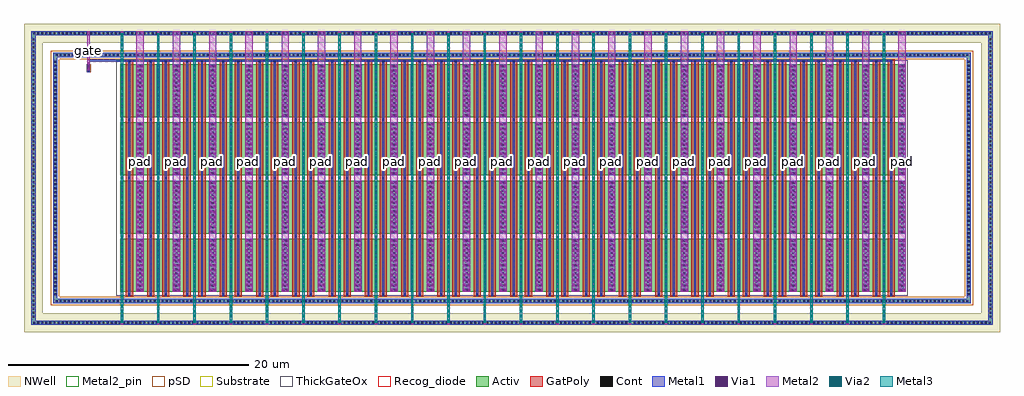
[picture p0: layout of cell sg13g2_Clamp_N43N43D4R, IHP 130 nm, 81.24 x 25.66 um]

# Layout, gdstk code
import gdstk
lib = gdstk.Library(unit=1e-6, precision=1e-09)
def R(c, l, rs):  # rectangles x0, y0, x1, y1
    for r in rs: c.add(gdstk.rectangle(r[:2], r[2:], *l))
def A(c, l, x, y, w, h, nx, ny, dx, dy):  # array of equal rectangles
    R(c, l, [(x+i*dx, y+j*dy, x+i*dx+w, y+j*dy+h) for i in range(nx) for j in range(ny)])
def P(c, l, *ps):  # polygons
    for p in ps: c.add(gdstk.Polygon(p, *l))
Activ = (1, 0)
GatPoly = (5, 0)
Cont = (6, 0)
Metal1 = (8, 0)
Metal2 = (10, 0)
Metal2_pin = (10, 2)
pSD = (14, 0)
Via1 = (19, 0)
Via2 = (29, 0)
Metal3 = (30, 0)
NWell = (31, 0)
Substrate = (40, 0)
ThickGateOx = (44, 0)
Recog_diode = (99, 31)

sg13g2_guardring_n16000w = lib.new_cell('sg13g2_GuardRing_N16000W4884HFF')
P(sg13g2_guardring_n16000w, Activ, [(-40,-12.21),(-40,11.87),(-39.66,11.87),(-39.66,-11.87),(39.66,-11.87),(39.66,11.87),(-40,11.87),(-40,12.21),(40,12.21),(40,-12.21)])
A(sg13g2_guardring_n16000w, Cont, -39.86, -12.12, 0.16, 0.16, 235, 2, 0.34, 24.08)
A(sg13g2_guardring_n16000w, Cont, -39.91, -11.64, 0.16, 0.16, 1, 69, 0, 0.34)
A(sg13g2_guardring_n16000w, Cont, 39.75, -11.64, 0.16, 0.16, 1, 69, 0, 0.34)
P(sg13g2_guardring_n16000w, Metal1, [(-40,-12.21),(-40,11.87),(-39.66,11.87),(-39.66,-11.87),(39.66,-11.87),(39.66,11.87),(-40,11.87),(-40,12.21),(40,12.21),(40,-12.21)])
P(sg13g2_guardring_n16000w, NWell, [(-40.62,-12.83),(-40.62,11.25),(-39.04,11.25),(-39.04,-11.25),(39.04,-11.25),(39.04,11.25),(-40.62,11.25),(-40.62,12.83),(40.62,12.83),(40.62,-12.83)])

sg13g2_guardring_p15280w = lib.new_cell('sg13g2_GuardRing_P15280W4164HFF')
P(sg13g2_guardring_p15280w, Activ, [(-38.2,-10.41),(-38.2,10.07),(-37.86,10.07),(-37.86,-10.07),(37.86,-10.07),(37.86,10.07),(-38.2,10.07),(-38.2,10.41),(38.2,10.41),(38.2,-10.41)])
A(sg13g2_guardring_p15280w, Cont, -37.99, -10.32, 0.16, 0.16, 224, 2, 0.34, 20.48)
A(sg13g2_guardring_p15280w, Cont, -38.11, -9.77, 0.16, 0.16, 1, 58, 0, 0.34)
A(sg13g2_guardring_p15280w, Cont, 37.95, -9.77, 0.16, 0.16, 1, 58, 0, 0.34)
P(sg13g2_guardring_p15280w, Metal1, [(-38.2,-10.41),(-38.2,10.07),(-37.86,10.07),(-37.86,-10.07),(37.86,-10.07),(37.86,10.07),(-38.2,10.07),(-38.2,10.41),(38.2,10.41),(38.2,-10.41)])
P(sg13g2_guardring_p15280w, pSD, [(-38.38,-10.59),(-38.38,9.89),(-37.68,9.89),(-37.68,-9.89),(37.68,-9.89),(37.68,9.89),(-38.38,9.89),(-38.38,10.59),(38.38,10.59),(38.38,-10.59)])
P(sg13g2_guardring_p15280w, Substrate, [(-38.2,-10.41),(-38.2,10.07),(-37.86,10.07),(-37.86,-10.07),(37.86,-10.07),(37.86,10.07),(-38.2,10.07),(-38.2,10.41),(38.2,10.41),(38.2,-10.41)])
sg13g2_guardring_p15280w.add(gdstk.Label('sub!', (-38.03,-10.24), layer=63, texttype=0))

sg13g2_clamp_n43n43d4r = lib.new_cell('sg13g2_Clamp_N43N43D4R')
A(sg13g2_clamp_n43n43d4r, Activ, 7.385, 2.75, 65.23, 4.4, 1, 4, 0, 4.84)
R(sg13g2_clamp_n43n43d4r, Activ, [(4.615,21.03,4.915,21.67)])
R(sg13g2_clamp_n43n43d4r, GatPoly, [(7.855,2.38,8.455,22.04), (9.635,2.38,10.235,22.04), (10.875,2.38,11.475,22.04), (12.655,2.38,13.255,22.04), (13.895,2.38,14.495,22.04), (15.675,2.38,16.275,22.04), (16.915,2.38,17.515,22.04), (18.695,2.38,19.295,22.04), (19.935,2.38,20.535,22.04), (21.715,2.38,22.315,22.04), (22.955,2.38,23.555,22.04), (24.735,2.38,25.335,22.04), (25.975,2.38,26.575,22.04), (27.755,2.38,28.355,22.04), (28.995,2.38,29.595,22.04), (30.775,2.38,31.375,22.04), (32.015,2.38,32.615,22.04), (33.795,2.38,34.395,22.04), (35.035,2.38,35.635,22.04), (36.815,2.38,37.415,22.04), (38.055,2.38,38.655,22.04), (39.835,2.38,40.435,22.04), (41.075,2.38,41.675,22.04), (42.855,2.38,43.455,22.04), (44.095,2.38,44.695,22.04), (45.875,2.38,46.475,22.04), (47.115,2.38,47.715,22.04), (48.895,2.38,49.495,22.04), (50.135,2.38,50.735,22.04), (51.915,2.38,52.515,22.04), (53.155,2.38,53.755,22.04), (54.935,2.38,55.535,22.04), (56.175,2.38,56.775,22.04), (57.955,2.38,58.555,22.04), (59.195,2.38,59.795,22.04), (60.975,2.38,61.575,22.04), (62.215,2.38,62.815,22.04), (63.995,2.38,64.595,22.04), (65.235,2.38,65.835,22.04), (67.015,2.38,67.615,22.04), (68.255,2.38,68.855,22.04), (70.035,2.38,70.635,22.04), (71.275,2.38,71.875,22.04)])
A(sg13g2_clamp_n43n43d4r, Cont, 8.075, 2.45, 0.16, 0.16, 1, 5, 0, 4.84)
A(sg13g2_clamp_n43n43d4r, Cont, 9.855, 2.45, 0.16, 0.16, 1, 5, 0, 4.84)
A(sg13g2_clamp_n43n43d4r, Cont, 11.095, 2.45, 0.16, 0.16, 1, 5, 0, 4.84)
A(sg13g2_clamp_n43n43d4r, Cont, 12.875, 2.45, 0.16, 0.16, 1, 5, 0, 4.84)
A(sg13g2_clamp_n43n43d4r, Cont, 14.115, 2.45, 0.16, 0.16, 1, 5, 0, 4.84)
A(sg13g2_clamp_n43n43d4r, Cont, 15.895, 2.45, 0.16, 0.16, 1, 5, 0, 4.84)
A(sg13g2_clamp_n43n43d4r, Cont, 17.135, 2.45, 0.16, 0.16, 1, 5, 0, 4.84)
A(sg13g2_clamp_n43n43d4r, Cont, 18.915, 2.45, 0.16, 0.16, 1, 5, 0, 4.84)
A(sg13g2_clamp_n43n43d4r, Cont, 20.155, 2.45, 0.16, 0.16, 1, 5, 0, 4.84)
A(sg13g2_clamp_n43n43d4r, Cont, 21.935, 2.45, 0.16, 0.16, 1, 5, 0, 4.84)
A(sg13g2_clamp_n43n43d4r, Cont, 23.175, 2.45, 0.16, 0.16, 1, 5, 0, 4.84)
A(sg13g2_clamp_n43n43d4r, Cont, 24.955, 2.45, 0.16, 0.16, 1, 5, 0, 4.84)
A(sg13g2_clamp_n43n43d4r, Cont, 26.195, 2.45, 0.16, 0.16, 1, 5, 0, 4.84)
A(sg13g2_clamp_n43n43d4r, Cont, 27.975, 2.45, 0.16, 0.16, 1, 5, 0, 4.84)
A(sg13g2_clamp_n43n43d4r, Cont, 29.215, 2.45, 0.16, 0.16, 1, 5, 0, 4.84)
A(sg13g2_clamp_n43n43d4r, Cont, 30.995, 2.45, 0.16, 0.16, 1, 5, 0, 4.84)
A(sg13g2_clamp_n43n43d4r, Cont, 32.235, 2.45, 0.16, 0.16, 1, 5, 0, 4.84)
A(sg13g2_clamp_n43n43d4r, Cont, 34.015, 2.45, 0.16, 0.16, 1, 5, 0, 4.84)
A(sg13g2_clamp_n43n43d4r, Cont, 35.255, 2.45, 0.16, 0.16, 1, 5, 0, 4.84)
A(sg13g2_clamp_n43n43d4r, Cont, 37.035, 2.45, 0.16, 0.16, 1, 5, 0, 4.84)
A(sg13g2_clamp_n43n43d4r, Cont, 38.275, 2.45, 0.16, 0.16, 1, 5, 0, 4.84)
A(sg13g2_clamp_n43n43d4r, Cont, 40.055, 2.45, 0.16, 0.16, 1, 5, 0, 4.84)
A(sg13g2_clamp_n43n43d4r, Cont, 41.295, 2.45, 0.16, 0.16, 1, 5, 0, 4.84)
A(sg13g2_clamp_n43n43d4r, Cont, 43.075, 2.45, 0.16, 0.16, 1, 5, 0, 4.84)
A(sg13g2_clamp_n43n43d4r, Cont, 44.315, 2.45, 0.16, 0.16, 1, 5, 0, 4.84)
A(sg13g2_clamp_n43n43d4r, Cont, 46.095, 2.45, 0.16, 0.16, 1, 5, 0, 4.84)
A(sg13g2_clamp_n43n43d4r, Cont, 47.335, 2.45, 0.16, 0.16, 1, 5, 0, 4.84)
A(sg13g2_clamp_n43n43d4r, Cont, 49.115, 2.45, 0.16, 0.16, 1, 5, 0, 4.84)
A(sg13g2_clamp_n43n43d4r, Cont, 50.355, 2.45, 0.16, 0.16, 1, 5, 0, 4.84)
A(sg13g2_clamp_n43n43d4r, Cont, 52.135, 2.45, 0.16, 0.16, 1, 5, 0, 4.84)
A(sg13g2_clamp_n43n43d4r, Cont, 53.375, 2.45, 0.16, 0.16, 1, 5, 0, 4.84)
A(sg13g2_clamp_n43n43d4r, Cont, 55.155, 2.45, 0.16, 0.16, 1, 5, 0, 4.84)
A(sg13g2_clamp_n43n43d4r, Cont, 56.395, 2.45, 0.16, 0.16, 1, 5, 0, 4.84)
A(sg13g2_clamp_n43n43d4r, Cont, 58.175, 2.45, 0.16, 0.16, 1, 5, 0, 4.84)
A(sg13g2_clamp_n43n43d4r, Cont, 59.415, 2.45, 0.16, 0.16, 1, 5, 0, 4.84)
A(sg13g2_clamp_n43n43d4r, Cont, 61.195, 2.45, 0.16, 0.16, 1, 5, 0, 4.84)
A(sg13g2_clamp_n43n43d4r, Cont, 62.435, 2.45, 0.16, 0.16, 1, 5, 0, 4.84)
A(sg13g2_clamp_n43n43d4r, Cont, 64.215, 2.45, 0.16, 0.16, 1, 5, 0, 4.84)
A(sg13g2_clamp_n43n43d4r, Cont, 65.455, 2.45, 0.16, 0.16, 1, 5, 0, 4.84)
A(sg13g2_clamp_n43n43d4r, Cont, 67.235, 2.45, 0.16, 0.16, 1, 5, 0, 4.84)
A(sg13g2_clamp_n43n43d4r, Cont, 68.475, 2.45, 0.16, 0.16, 1, 5, 0, 4.84)
A(sg13g2_clamp_n43n43d4r, Cont, 70.255, 2.45, 0.16, 0.16, 1, 5, 0, 4.84)
A(sg13g2_clamp_n43n43d4r, Cont, 71.495, 2.45, 0.16, 0.16, 1, 5, 0, 4.84)
A(sg13g2_clamp_n43n43d4r, Cont, 7.455, 2.83, 0.16, 0.16, 44, 13, 1.51, 0.34)
A(sg13g2_clamp_n43n43d4r, Cont, 7.455, 7.67, 0.16, 0.16, 44, 13, 1.51, 0.34)
A(sg13g2_clamp_n43n43d4r, Cont, 7.455, 12.51, 0.16, 0.16, 44, 13, 1.51, 0.34)
A(sg13g2_clamp_n43n43d4r, Cont, 7.455, 17.35, 0.16, 0.16, 44, 13, 1.51, 0.34)
R(sg13g2_clamp_n43n43d4r, Cont, [(4.685,21.1,4.845,21.26), (4.685,21.44,4.845,21.6)])
A(sg13g2_clamp_n43n43d4r, Metal1, 7.43, 1.8, 0.21, 0.34, 22, 2, 3.02, 20.48)
A(sg13g2_clamp_n43n43d4r, Metal1, 7.43, 2.75, 0.21, 4.4, 22, 4, 3.02, 4.84)
A(sg13g2_clamp_n43n43d4r, Metal1, 8.735, 2.75, 0.62, 4.4, 22, 4, 3.02, 4.84)
P(sg13g2_clamp_n43n43d4r, Metal1, [(8.075,2.37),(8.075,21.89),(4.87,21.89),(4.87,21.02),(4.66,21.02),(4.66,22.05),(71.655,22.05),(71.655,2.37),(71.495,2.37),(71.495,21.89),(70.415,21.89),(70.415,2.37),(70.255,2.37),(70.255,21.89),(68.635,21.89),(68.635,2.37),(68.475,2.37),(68.475,21.89),(67.395,21.89),(67.395,2.37),(67.235,2.37),(67.235,21.89),(65.615,21.89),(65.615,2.37),(65.455,2.37),(65.455,21.89),(64.375,21.89),(64.375,2.37),(64.215,2.37),(64.215,21.89),(62.595,21.89),(62.595,2.37),(62.435,2.37),(62.435,21.89),(61.355,21.89),(61.355,2.37),(61.195,2.37),(61.195,21.89),(59.575,21.89),(59.575,2.37),(59.415,2.37),(59.415,21.89),(58.335,21.89),(58.335,2.37),(58.175,2.37),(58.175,21.89),(56.555,21.89),(56.555,2.37),(56.395,2.37),(56.395,21.89),(55.315,21.89),(55.315,2.37),(55.155,2.37),(55.155,21.89),(53.535,21.89),(53.535,2.37),(53.375,2.37),(53.375,21.89),(52.295,21.89),(52.295,2.37),(52.135,2.37),(52.135,21.89),(50.515,21.89),(50.515,2.37),(50.355,2.37),(50.355,21.89),(49.275,21.89),(49.275,2.37),(49.115,2.37),(49.115,21.89),(47.495,21.89),(47.495,2.37),(47.335,2.37),(47.335,21.89),(46.255,21.89),(46.255,2.37),(46.095,2.37),(46.095,21.89),(44.475,21.89),(44.475,2.37),(44.315,2.37),(44.315,21.89),(43.235,21.89),(43.235,2.37),(43.075,2.37),(43.075,21.89),(41.455,21.89),(41.455,2.37),(41.295,2.37),(41.295,21.89),(40.215,21.89),(40.215,2.37),(40.055,2.37),(40.055,21.89),(38.435,21.89),(38.435,2.37),(38.275,2.37),(38.275,21.89),(37.195,21.89),(37.195,2.37),(37.035,2.37),(37.035,21.89),(35.415,21.89),(35.415,2.37),(35.255,2.37),(35.255,21.89),(34.175,21.89),(34.175,2.37),(34.015,2.37),(34.015,21.89),(32.395,21.89),(32.395,2.37),(32.235,2.37),(32.235,21.89),(31.155,21.89),(31.155,2.37),(30.995,2.37),(30.995,21.89),(29.375,21.89),(29.375,2.37),(29.215,2.37),(29.215,21.89),(28.135,21.89),(28.135,2.37),(27.975,2.37),(27.975,21.89),(26.355,21.89),(26.355,2.37),(26.195,2.37),(26.195,21.89),(25.115,21.89),(25.115,2.37),(24.955,2.37),(24.955,21.89),(23.335,21.89),(23.335,2.37),(23.175,2.37),(23.175,21.89),(22.095,21.89),(22.095,2.37),(21.935,2.37),(21.935,21.89),(20.315,21.89),(20.315,2.37),(20.155,2.37),(20.155,21.89),(19.075,21.89),(19.075,2.37),(18.915,2.37),(18.915,21.89),(17.295,21.89),(17.295,2.37),(17.135,2.37),(17.135,21.89),(16.055,21.89),(16.055,2.37),(15.895,2.37),(15.895,21.89),(14.275,21.89),(14.275,2.37),(14.115,2.37),(14.115,21.89),(13.035,21.89),(13.035,2.37),(12.875,2.37),(12.875,21.89),(11.255,21.89),(11.255,2.37),(11.095,2.37),(11.095,21.89),(10.015,21.89),(10.015,2.37),(9.855,2.37),(9.855,21.89),(8.235,21.89),(8.235,2.37)])
A(sg13g2_clamp_n43n43d4r, Metal2, 7.435, 0, 0.2, 24.42, 22, 1, 3.02, 0)
A(sg13g2_clamp_n43n43d4r, Metal2, 8.74, 2.755, 0.61, 21.665, 22, 1, 3.02, 0)
R(sg13g2_clamp_n43n43d4r, Metal2, [(4.665,21.185,4.865,24.42)])
A(sg13g2_clamp_n43n43d4r, Metal2_pin, 8.74, 2.755, 0.61, 21.665, 22, 1, 3.02, 0)
R(sg13g2_clamp_n43n43d4r, Metal2_pin, [(4.665,21.185,4.865,24.42)])
A(sg13g2_clamp_n43n43d4r, Via1, 7.44, 1.875, 0.19, 0.19, 22, 2, 3.02, 20.48)
A(sg13g2_clamp_n43n43d4r, Via1, 7.44, 2.805, 0.19, 0.19, 1, 11, 0, 0.41)
A(sg13g2_clamp_n43n43d4r, Via1, 8.745, 2.805, 0.19, 0.19, 1, 11, 0, 0.41)
A(sg13g2_clamp_n43n43d4r, Via1, 9.155, 2.805, 0.19, 0.19, 3, 11, 1.305, 0.41)
A(sg13g2_clamp_n43n43d4r, Via1, 12.175, 2.805, 0.19, 0.19, 3, 11, 1.305, 0.41)
A(sg13g2_clamp_n43n43d4r, Via1, 15.195, 2.805, 0.19, 0.19, 3, 11, 1.305, 0.41)
A(sg13g2_clamp_n43n43d4r, Via1, 18.215, 2.805, 0.19, 0.19, 3, 11, 1.305, 0.41)
A(sg13g2_clamp_n43n43d4r, Via1, 21.235, 2.805, 0.19, 0.19, 3, 11, 1.305, 0.41)
A(sg13g2_clamp_n43n43d4r, Via1, 24.255, 2.805, 0.19, 0.19, 3, 11, 1.305, 0.41)
A(sg13g2_clamp_n43n43d4r, Via1, 27.275, 2.805, 0.19, 0.19, 3, 11, 1.305, 0.41)
A(sg13g2_clamp_n43n43d4r, Via1, 30.295, 2.805, 0.19, 0.19, 3, 11, 1.305, 0.41)
A(sg13g2_clamp_n43n43d4r, Via1, 33.315, 2.805, 0.19, 0.19, 3, 11, 1.305, 0.41)
A(sg13g2_clamp_n43n43d4r, Via1, 36.335, 2.805, 0.19, 0.19, 3, 11, 1.305, 0.41)
A(sg13g2_clamp_n43n43d4r, Via1, 39.355, 2.805, 0.19, 0.19, 3, 11, 1.305, 0.41)
A(sg13g2_clamp_n43n43d4r, Via1, 42.375, 2.805, 0.19, 0.19, 3, 11, 1.305, 0.41)
A(sg13g2_clamp_n43n43d4r, Via1, 45.395, 2.805, 0.19, 0.19, 3, 11, 1.305, 0.41)
A(sg13g2_clamp_n43n43d4r, Via1, 48.415, 2.805, 0.19, 0.19, 3, 11, 1.305, 0.41)
A(sg13g2_clamp_n43n43d4r, Via1, 51.435, 2.805, 0.19, 0.19, 3, 11, 1.305, 0.41)
A(sg13g2_clamp_n43n43d4r, Via1, 54.455, 2.805, 0.19, 0.19, 3, 11, 1.305, 0.41)
A(sg13g2_clamp_n43n43d4r, Via1, 57.475, 2.805, 0.19, 0.19, 3, 11, 1.305, 0.41)
A(sg13g2_clamp_n43n43d4r, Via1, 60.495, 2.805, 0.19, 0.19, 3, 11, 1.305, 0.41)
A(sg13g2_clamp_n43n43d4r, Via1, 63.515, 2.805, 0.19, 0.19, 3, 11, 1.305, 0.41)
A(sg13g2_clamp_n43n43d4r, Via1, 66.535, 2.805, 0.19, 0.19, 3, 11, 1.305, 0.41)
A(sg13g2_clamp_n43n43d4r, Via1, 69.555, 2.805, 0.19, 0.19, 3, 11, 1.305, 0.41)
A(sg13g2_clamp_n43n43d4r, Via1, 72.575, 2.805, 0.19, 0.19, 1, 11, 0, 0.41)
A(sg13g2_clamp_n43n43d4r, Via1, 7.44, 7.645, 0.19, 0.19, 1, 11, 0, 0.41)
A(sg13g2_clamp_n43n43d4r, Via1, 8.745, 7.645, 0.19, 0.19, 1, 11, 0, 0.41)
A(sg13g2_clamp_n43n43d4r, Via1, 9.155, 7.645, 0.19, 0.19, 3, 11, 1.305, 0.41)
A(sg13g2_clamp_n43n43d4r, Via1, 12.175, 7.645, 0.19, 0.19, 3, 11, 1.305, 0.41)
A(sg13g2_clamp_n43n43d4r, Via1, 15.195, 7.645, 0.19, 0.19, 3, 11, 1.305, 0.41)
A(sg13g2_clamp_n43n43d4r, Via1, 18.215, 7.645, 0.19, 0.19, 3, 11, 1.305, 0.41)
A(sg13g2_clamp_n43n43d4r, Via1, 21.235, 7.645, 0.19, 0.19, 3, 11, 1.305, 0.41)
A(sg13g2_clamp_n43n43d4r, Via1, 24.255, 7.645, 0.19, 0.19, 3, 11, 1.305, 0.41)
A(sg13g2_clamp_n43n43d4r, Via1, 27.275, 7.645, 0.19, 0.19, 3, 11, 1.305, 0.41)
A(sg13g2_clamp_n43n43d4r, Via1, 30.295, 7.645, 0.19, 0.19, 3, 11, 1.305, 0.41)
A(sg13g2_clamp_n43n43d4r, Via1, 33.315, 7.645, 0.19, 0.19, 3, 11, 1.305, 0.41)
A(sg13g2_clamp_n43n43d4r, Via1, 36.335, 7.645, 0.19, 0.19, 3, 11, 1.305, 0.41)
A(sg13g2_clamp_n43n43d4r, Via1, 39.355, 7.645, 0.19, 0.19, 3, 11, 1.305, 0.41)
A(sg13g2_clamp_n43n43d4r, Via1, 42.375, 7.645, 0.19, 0.19, 3, 11, 1.305, 0.41)
A(sg13g2_clamp_n43n43d4r, Via1, 45.395, 7.645, 0.19, 0.19, 3, 11, 1.305, 0.41)
A(sg13g2_clamp_n43n43d4r, Via1, 48.415, 7.645, 0.19, 0.19, 3, 11, 1.305, 0.41)
A(sg13g2_clamp_n43n43d4r, Via1, 51.435, 7.645, 0.19, 0.19, 3, 11, 1.305, 0.41)
A(sg13g2_clamp_n43n43d4r, Via1, 54.455, 7.645, 0.19, 0.19, 3, 11, 1.305, 0.41)
A(sg13g2_clamp_n43n43d4r, Via1, 57.475, 7.645, 0.19, 0.19, 3, 11, 1.305, 0.41)
A(sg13g2_clamp_n43n43d4r, Via1, 60.495, 7.645, 0.19, 0.19, 3, 11, 1.305, 0.41)
A(sg13g2_clamp_n43n43d4r, Via1, 63.515, 7.645, 0.19, 0.19, 3, 11, 1.305, 0.41)
A(sg13g2_clamp_n43n43d4r, Via1, 66.535, 7.645, 0.19, 0.19, 3, 11, 1.305, 0.41)
A(sg13g2_clamp_n43n43d4r, Via1, 69.555, 7.645, 0.19, 0.19, 3, 11, 1.305, 0.41)
A(sg13g2_clamp_n43n43d4r, Via1, 72.575, 7.645, 0.19, 0.19, 1, 11, 0, 0.41)
A(sg13g2_clamp_n43n43d4r, Via1, 7.44, 12.485, 0.19, 0.19, 1, 11, 0, 0.41)
A(sg13g2_clamp_n43n43d4r, Via1, 8.745, 12.485, 0.19, 0.19, 1, 11, 0, 0.41)
A(sg13g2_clamp_n43n43d4r, Via1, 9.155, 12.485, 0.19, 0.19, 3, 11, 1.305, 0.41)
A(sg13g2_clamp_n43n43d4r, Via1, 12.175, 12.485, 0.19, 0.19, 3, 11, 1.305, 0.41)
A(sg13g2_clamp_n43n43d4r, Via1, 15.195, 12.485, 0.19, 0.19, 3, 11, 1.305, 0.41)
A(sg13g2_clamp_n43n43d4r, Via1, 18.215, 12.485, 0.19, 0.19, 3, 11, 1.305, 0.41)
A(sg13g2_clamp_n43n43d4r, Via1, 21.235, 12.485, 0.19, 0.19, 3, 11, 1.305, 0.41)
A(sg13g2_clamp_n43n43d4r, Via1, 24.255, 12.485, 0.19, 0.19, 3, 11, 1.305, 0.41)
A(sg13g2_clamp_n43n43d4r, Via1, 27.275, 12.485, 0.19, 0.19, 3, 11, 1.305, 0.41)
A(sg13g2_clamp_n43n43d4r, Via1, 30.295, 12.485, 0.19, 0.19, 3, 11, 1.305, 0.41)
A(sg13g2_clamp_n43n43d4r, Via1, 33.315, 12.485, 0.19, 0.19, 3, 11, 1.305, 0.41)
A(sg13g2_clamp_n43n43d4r, Via1, 36.335, 12.485, 0.19, 0.19, 3, 11, 1.305, 0.41)
A(sg13g2_clamp_n43n43d4r, Via1, 39.355, 12.485, 0.19, 0.19, 3, 11, 1.305, 0.41)
A(sg13g2_clamp_n43n43d4r, Via1, 42.375, 12.485, 0.19, 0.19, 3, 11, 1.305, 0.41)
A(sg13g2_clamp_n43n43d4r, Via1, 45.395, 12.485, 0.19, 0.19, 3, 11, 1.305, 0.41)
A(sg13g2_clamp_n43n43d4r, Via1, 48.415, 12.485, 0.19, 0.19, 3, 11, 1.305, 0.41)
A(sg13g2_clamp_n43n43d4r, Via1, 51.435, 12.485, 0.19, 0.19, 3, 11, 1.305, 0.41)
A(sg13g2_clamp_n43n43d4r, Via1, 54.455, 12.485, 0.19, 0.19, 3, 11, 1.305, 0.41)
A(sg13g2_clamp_n43n43d4r, Via1, 57.475, 12.485, 0.19, 0.19, 3, 11, 1.305, 0.41)
A(sg13g2_clamp_n43n43d4r, Via1, 60.495, 12.485, 0.19, 0.19, 3, 11, 1.305, 0.41)
A(sg13g2_clamp_n43n43d4r, Via1, 63.515, 12.485, 0.19, 0.19, 3, 11, 1.305, 0.41)
A(sg13g2_clamp_n43n43d4r, Via1, 66.535, 12.485, 0.19, 0.19, 3, 11, 1.305, 0.41)
A(sg13g2_clamp_n43n43d4r, Via1, 69.555, 12.485, 0.19, 0.19, 3, 11, 1.305, 0.41)
A(sg13g2_clamp_n43n43d4r, Via1, 72.575, 12.485, 0.19, 0.19, 1, 11, 0, 0.41)
A(sg13g2_clamp_n43n43d4r, Via1, 7.44, 17.325, 0.19, 0.19, 1, 11, 0, 0.41)
A(sg13g2_clamp_n43n43d4r, Via1, 8.745, 17.325, 0.19, 0.19, 1, 11, 0, 0.41)
A(sg13g2_clamp_n43n43d4r, Via1, 9.155, 17.325, 0.19, 0.19, 3, 11, 1.305, 0.41)
A(sg13g2_clamp_n43n43d4r, Via1, 12.175, 17.325, 0.19, 0.19, 3, 11, 1.305, 0.41)
A(sg13g2_clamp_n43n43d4r, Via1, 15.195, 17.325, 0.19, 0.19, 3, 11, 1.305, 0.41)
A(sg13g2_clamp_n43n43d4r, Via1, 18.215, 17.325, 0.19, 0.19, 3, 11, 1.305, 0.41)
A(sg13g2_clamp_n43n43d4r, Via1, 21.235, 17.325, 0.19, 0.19, 3, 11, 1.305, 0.41)
A(sg13g2_clamp_n43n43d4r, Via1, 24.255, 17.325, 0.19, 0.19, 3, 11, 1.305, 0.41)
A(sg13g2_clamp_n43n43d4r, Via1, 27.275, 17.325, 0.19, 0.19, 3, 11, 1.305, 0.41)
A(sg13g2_clamp_n43n43d4r, Via1, 30.295, 17.325, 0.19, 0.19, 3, 11, 1.305, 0.41)
A(sg13g2_clamp_n43n43d4r, Via1, 33.315, 17.325, 0.19, 0.19, 3, 11, 1.305, 0.41)
A(sg13g2_clamp_n43n43d4r, Via1, 36.335, 17.325, 0.19, 0.19, 3, 11, 1.305, 0.41)
A(sg13g2_clamp_n43n43d4r, Via1, 39.355, 17.325, 0.19, 0.19, 3, 11, 1.305, 0.41)
A(sg13g2_clamp_n43n43d4r, Via1, 42.375, 17.325, 0.19, 0.19, 3, 11, 1.305, 0.41)
A(sg13g2_clamp_n43n43d4r, Via1, 45.395, 17.325, 0.19, 0.19, 3, 11, 1.305, 0.41)
A(sg13g2_clamp_n43n43d4r, Via1, 48.415, 17.325, 0.19, 0.19, 3, 11, 1.305, 0.41)
A(sg13g2_clamp_n43n43d4r, Via1, 51.435, 17.325, 0.19, 0.19, 3, 11, 1.305, 0.41)
A(sg13g2_clamp_n43n43d4r, Via1, 54.455, 17.325, 0.19, 0.19, 3, 11, 1.305, 0.41)
A(sg13g2_clamp_n43n43d4r, Via1, 57.475, 17.325, 0.19, 0.19, 3, 11, 1.305, 0.41)
A(sg13g2_clamp_n43n43d4r, Via1, 60.495, 17.325, 0.19, 0.19, 3, 11, 1.305, 0.41)
A(sg13g2_clamp_n43n43d4r, Via1, 63.515, 17.325, 0.19, 0.19, 3, 11, 1.305, 0.41)
A(sg13g2_clamp_n43n43d4r, Via1, 66.535, 17.325, 0.19, 0.19, 3, 11, 1.305, 0.41)
A(sg13g2_clamp_n43n43d4r, Via1, 69.555, 17.325, 0.19, 0.19, 3, 11, 1.305, 0.41)
A(sg13g2_clamp_n43n43d4r, Via1, 72.575, 17.325, 0.19, 0.19, 1, 11, 0, 0.41)
R(sg13g2_clamp_n43n43d4r, Via1, [(4.67,21.235,4.86,21.425), (4.67,21.645,4.86,21.835)])
A(sg13g2_clamp_n43n43d4r, Via2, 7.44, 0.225, 0.19, 0.19, 22, 59, 3.02, 0.41)
A(sg13g2_clamp_n43n43d4r, Metal3, 7.435, 0.175, 0.2, 24.07, 22, 1, 3.02, 0)
R(sg13g2_clamp_n43n43d4r, ThickGateOx, [(7.045,2.41,72.955,22.01)])
R(sg13g2_clamp_n43n43d4r, Recog_diode, [(4.595,21.01,4.935,21.69)])
sg13g2_clamp_n43n43d4r.add(gdstk.Reference(sg13g2_guardring_n16000w, (40,12.21)))
sg13g2_clamp_n43n43d4r.add(gdstk.Reference(sg13g2_guardring_p15280w, (40,12.21)))
sg13g2_clamp_n43n43d4r.add(gdstk.Label('pad', (33.205,13.587), layer=10, texttype=25))
sg13g2_clamp_n43n43d4r.add(gdstk.Label('pad', (69.445,13.587), layer=10, texttype=25))
sg13g2_clamp_n43n43d4r.add(gdstk.Label('pad', (9.045,13.587), layer=10, texttype=25))
sg13g2_clamp_n43n43d4r.add(gdstk.Label('pad', (12.065,13.587), layer=10, texttype=25))
sg13g2_clamp_n43n43d4r.add(gdstk.Label('pad', (27.165,13.587), layer=10, texttype=25))
sg13g2_clamp_n43n43d4r.add(gdstk.Label('pad', (51.325,13.587), layer=10, texttype=25))
sg13g2_clamp_n43n43d4r.add(gdstk.Label('pad', (24.145,13.587), layer=10, texttype=25))
sg13g2_clamp_n43n43d4r.add(gdstk.Label('pad', (39.245,13.587), layer=10, texttype=25))
sg13g2_clamp_n43n43d4r.add(gdstk.Label('pad', (66.425,13.587), layer=10, texttype=25))
sg13g2_clamp_n43n43d4r.add(gdstk.Label('pad', (30.185,13.587), layer=10, texttype=25))
sg13g2_clamp_n43n43d4r.add(gdstk.Label('pad', (36.225,13.587), layer=10, texttype=25))
sg13g2_clamp_n43n43d4r.add(gdstk.Label('pad', (72.465,13.587), layer=10, texttype=25))
sg13g2_clamp_n43n43d4r.add(gdstk.Label('pad', (21.125,13.587), layer=10, texttype=25))
sg13g2_clamp_n43n43d4r.add(gdstk.Label('pad', (54.345,13.587), layer=10, texttype=25))
sg13g2_clamp_n43n43d4r.add(gdstk.Label('pad', (48.305,13.587), layer=10, texttype=25))
sg13g2_clamp_n43n43d4r.add(gdstk.Label('pad', (63.405,13.587), layer=10, texttype=25))
sg13g2_clamp_n43n43d4r.add(gdstk.Label('pad', (45.285,13.587), layer=10, texttype=25))
sg13g2_clamp_n43n43d4r.add(gdstk.Label('pad', (42.265,13.587), layer=10, texttype=25))
sg13g2_clamp_n43n43d4r.add(gdstk.Label('pad', (60.385,13.587), layer=10, texttype=25))
sg13g2_clamp_n43n43d4r.add(gdstk.Label('pad', (57.365,13.587), layer=10, texttype=25))
sg13g2_clamp_n43n43d4r.add(gdstk.Label('pad', (18.105,13.587), layer=10, texttype=25))
sg13g2_clamp_n43n43d4r.add(gdstk.Label('pad', (15.085,13.587), layer=10, texttype=25))
sg13g2_clamp_n43n43d4r.add(gdstk.Label('gate', (4.765,22.803), layer=10, texttype=25))

lib.write_gds('sg13g2_Clamp_N43N43D4R.gds')
